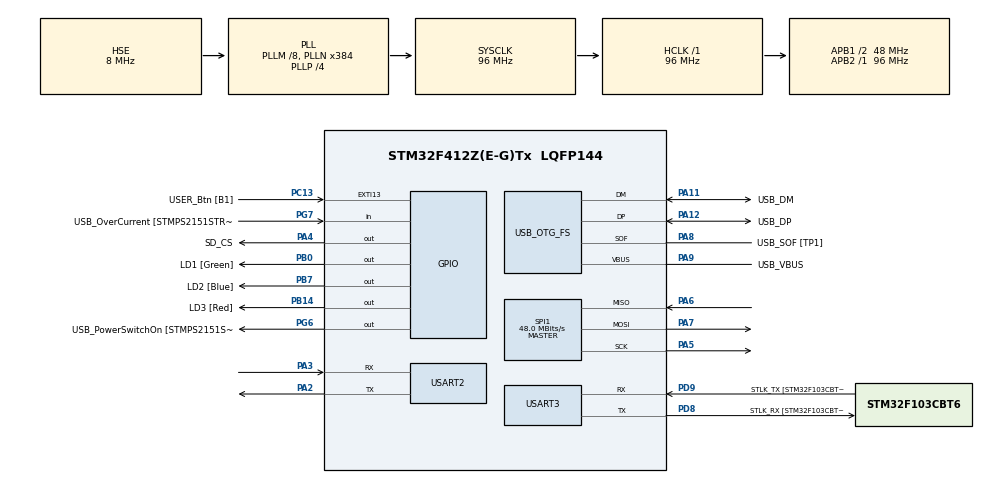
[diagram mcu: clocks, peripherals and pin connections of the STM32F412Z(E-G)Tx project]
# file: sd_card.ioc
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FATFS._MAX_SS=4096
FATFS._USE_LFN=1
Mcu.Family=STM32F4
Mcu.Name=STM32F412Z(E-G)Tx
Mcu.Package=LQFP144
NVIC.PriorityGroup=NVIC_PRIORITYGROUP_4
PA10.GPIO_Label=USB_ID
PA10.Signal=USB_OTG_FS_ID
PA11.GPIO_Label=USB_DM
PA11.Mode=Device_Only
PA11.Signal=USB_OTG_FS_DM
PA12.GPIO_Label=USB_DP
PA12.Mode=Device_Only
PA12.Signal=USB_OTG_FS_DP
PA13.GPIO_Label=TMS
PA13.Mode=Serial_Wire
PA13.Signal=SYS_JTMS-SWDIO
PA14.GPIO_Label=TCK
PA14.Mode=Serial_Wire
PA14.Signal=SYS_JTCK-SWCLK
PA2.Mode=Asynchronous
PA2.Signal=USART2_TX
PA3.Mode=Asynchronous
PA3.Signal=USART2_RX
PA4.GPIO_Label=SD_CS
PA4.Signal=GPIO_Output
PA5.Mode=Full_Duplex_Master
PA5.Signal=SPI1_SCK
PA6.Mode=Full_Duplex_Master
PA6.Signal=SPI1_MISO
PA7.Mode=Full_Duplex_Master
PA7.Signal=SPI1_MOSI
PA8.GPIO_Label=USB_SOF [TP1]
PA8.Mode=Activate_SOF_FS
PA8.Signal=USB_OTG_FS_SOF
PA9.GPIO_Label=USB_VBUS
PA9.Mode=Activate_VBUS
PA9.Signal=USB_OTG_FS_VBUS
PB0.GPIO_Label=LD1 [Green]
PB0.Signal=GPIO_Output
PB14.GPIO_Label=LD3 [Red]
PB14.Signal=GPIO_Output
PB3.GPIO_Label=SWO
PB3.Signal=SYS_JTDO-SWO
PB7.GPIO_Label=LD2 [Blue]
PB7.Signal=GPIO_Output
PC13.GPIO_Label=USER_Btn [B1]
PC13.Signal=GPXTI13
PC14-OSC32_IN.Mode=LSE-External-Oscillator
PC14-OSC32_IN.Signal=RCC_OSC32_IN
PC15-OSC32_OUT.Mode=LSE-External-Oscillator
PC15-OSC32_OUT.Signal=RCC_OSC32_OUT
PD8.GPIO_Label=STLK_RX [STM32F103CBT6_PA3]
PD8.Mode=Asynchronous
PD8.Signal=USART3_TX
PD9.GPIO_Label=STLK_TX [STM32F103CBT6_PA2]
PD9.Mode=Asynchronous
PD9.Signal=USART3_RX
PG6.GPIO_Label=USB_PowerSwitchOn [STMPS2151STR_EN]
PG6.Signal=GPIO_Output
PG7.GPIO_Label=USB_OverCurrent [STMPS2151STR_FAULT]
PG7.Signal=GPIO_Input
PH0\ -\ OSC_IN.GPIO_Label=MCO
PH0\ -\ OSC_IN.Mode=HSE-External-Clock-Source
PH0\ -\ OSC_IN.Signal=RCC_OSC_IN
PH1\ -\ OSC_OUT.Mode=HSE-External-Clock-Source
PH1\ -\ OSC_OUT.Signal=RCC_OSC_OUT
ProjectManager.HeapSize=0x200
ProjectManager.StackSize=0x400
ProjectManager.TargetToolchain=STM32CubeIDE
RCC.48MHZClocksFreq_Value=24000000
RCC.AHBFreq_Value=96000000
RCC.APB1CLKDivider=RCC_HCLK_DIV2
RCC.APB1Freq_Value=48000000
RCC.APB1TimFreq_Value=96000000
RCC.APB2Freq_Value=96000000
RCC.APB2TimFreq_Value=96000000
RCC.CortexFreq_Value=96000000
RCC.HCLKFreq_Value=96000000
RCC.HSE_VALUE=8000000
RCC.HSI_VALUE=16000000
RCC.PLLM=8
RCC.PLLMUL=RCC_PLL_MUL9
RCC.PLLN=384
RCC.PLLP=RCC_PLLP_DIV4
RCC.PLLQ=8
RCC.PRESCALERUSB=RCC_USBCLKSOURCE_PLL_DIV1_5
RCC.SYSCLKFreq_VALUE=96000000
RCC.SYSCLKSource=RCC_SYSCLKSOURCE_PLLCLK
RCC.SYSCLKSourceVirtual=RCC_SYSCLKSOURCE_PLLCLK
RCC.USBFreq_Value=48000000
RCC.VCOOutputFreq_Value=384000000
SPI1.BaudRatePrescaler=SPI_BAUDRATEPRESCALER_2
SPI1.CalculateBaudRate=48.0 MBits/s
SPI1.Direction=SPI_DIRECTION_2LINES
SPI1.Mode=SPI_MODE_MASTER
SPI1.VirtualType=VM_MASTER
USART2.VirtualMode=VM_ASYNC
USART3.VirtualMode=VM_ASYNC
USB_OTG_FS.VirtualMode=Device_Only
VP_FATFS_VS_Generic.Mode=User_defined
board=NUCLEO-F412ZG

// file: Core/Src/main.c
/* USER CODE BEGIN Header */
/**
  ******************************************************************************
  * @file           : main.c
  * @brief          : Main program body
  ******************************************************************************
  * @attention
  *
  * Copyright (c) 2025 STMicroelectronics.
  * All rights reserved.
  *
  * This software is licensed under terms that can be found in the LICENSE file
  * in the root directory of this software component.
  * If no LICENSE file comes with this software, it is provided AS-IS.
  *
  ******************************************************************************
  */
/* USER CODE END Header */
#include "main.h"
#include "fatfs.h"

/* USER CODE BEGIN Includes */
#include "time.h"
/* USER CODE END Includes */

SPI_HandleTypeDef hspi1;

UART_HandleTypeDef huart2;
UART_HandleTypeDef huart3;

PCD_HandleTypeDef hpcd_USB_OTG_FS;

void SystemClock_Config(void);
static void MX_GPIO_Init(void);
static void MX_USART3_UART_Init(void);
static void MX_USB_OTG_FS_PCD_Init(void);
static void MX_SPI1_Init(void);
static void MX_USART2_UART_Init(void);

/* USER CODE BEGIN 0 */
SPI_HandleTypeDef hspi2;
char TxBuffer[250];
static void UART_Print(char* str)
{
    HAL_UART_Transmit(&huart3, (uint8_t *) str, strlen(str), 100);
}

static FRESULT mounSDtFile(FATFS *FatFs)
{
    FRESULT FR_Status;
    FR_Status = f_mount(FatFs, "", 1);
    if (FR_Status != FR_OK)
    {
        sprintf(TxBuffer, "Error! While Mounting SD Card, Error Code: (%i)\r\n", FR_Status);
        UART_Print(TxBuffer);
        return FR_Status;
    }
    sprintf(TxBuffer, "SD Card Mounted Successfully! \r\n\n");
    UART_Print(TxBuffer);
    return FR_OK;
}

static FRESULT unmountSDFile()
{
	FRESULT FR_Status;
	FR_Status = f_mount(NULL, "", 0);
	if (FR_Status != FR_OK)
	  {
	      sprintf(TxBuffer, "Error! While Un-mounting SD Card, Error Code: (%i)\r\n", FR_Status);
	      UART_Print(TxBuffer);
	  } else{
	      sprintf(TxBuffer, "SD Card Un-mounted Successfully! \r\n");
	      UART_Print(TxBuffer);
	  }
	return FR_Status;
}

static FRESULT writeSDFILE(const char *filename)
{
    FRESULT FR_Status;
    FIL Fil;
    char RW_Buffer[200];

    FR_Status = f_open(&Fil, filename, FA_WRITE | FA_OPEN_ALWAYS);
    if(FR_Status != FR_OK)
    {
        sprintf(TxBuffer, "Error! While Opening/Creating The File '%s', Error Code: (%i)\r\n", filename, FR_Status);
        UART_Print(TxBuffer);
        return FR_Status;
    }

    FR_Status = f_lseek(&Fil, f_size(&Fil));
    if (FR_Status != FR_OK)
    {
        sprintf(TxBuffer, "Error! While Seeking to End of File '%s', Error Code: (%i)\r\n", filename, FR_Status);
        UART_Print(TxBuffer);
        f_close(&Fil);
        return FR_Status;
    }

    sprintf(TxBuffer, "File '%s' Opened Successfully! Writing Data..\r\n\n", filename);
    UART_Print(TxBuffer);

    f_puts("ROAD ARROW!\r\n", &Fil);
    f_close(&Fil);

    return FR_OK;
}

static FRESULT readSDFILE(const char *filename)
{
    FRESULT FR_Status;
    FIL Fil;
    char RW_Buffer[200];

    FR_Status = f_open(&Fil, filename, FA_READ);
    if (FR_Status != FR_OK)
    {
        sprintf(TxBuffer, "Error! While Opening File '%s' For Read.. Error Code: (%i)\r\n", filename, FR_Status);
        UART_Print(TxBuffer);
        return FR_Status;
    }

    sprintf(TxBuffer, "Reading File '%s'...\r\n", filename);
    UART_Print(TxBuffer);

    while (f_gets(RW_Buffer, sizeof(RW_Buffer), &Fil))
    {
        UART_Print(RW_Buffer);
    }

    f_close(&Fil);
    sprintf(TxBuffer, "File Closed! \r\n\n");
    UART_Print(TxBuffer);

    return FR_OK;
}

static void generate_filename(char *filename, size_t max_len)
{
    time_t now = time(NULL);
    struct tm *t = localtime(&now);

    snprintf(filename, max_len, "log_%02d_%02d_%04d_%02d_%02d.txt",
             t->tm_mday, t->tm_mon + 1, t->tm_year + 1900, t->tm_hour, t->tm_min);
}

static void SD_Card_Test(void)
{
    FATFS FatFs;
    FRESULT FR_Status;

    char filename[50];

    generate_filename(filename, sizeof(filename));

    FR_Status = mounSDtFile(&FatFs);
    if (FR_Status != FR_OK)
        return;

    for (int i = 0; i < 500; i++)
    {
        FR_Status = writeSDFILE(filename);
        if (FR_Status != FR_OK)
            return;
    }

    FR_Status = readSDFILE(filename);
    if (FR_Status != FR_OK)
        return;

    FR_Status = unmountSDFile();
    if (FR_Status != FR_OK)
        return;

}

static void writeLog()
{
	FATFS FatFs;
	FIL Fil;
	FRESULT FR_Status;
	FATFS *FS_Ptr;
	UINT RWC, WWC; // Read/Write Word Counter
	DWORD FreeClusters;
	uint32_t TotalSize, FreeSpace;
	char RW_Buffer[200];
}

/* USER CODE END 0 */

int main(void)
{

  /* MCU Configuration--------------------------------------------------------*/

  /* Reset of all peripherals, Initializes the Flash interface and the Systick. */
  HAL_Init();

  /* Configure the system clock */
  SystemClock_Config();

  /* Initialize all configured peripherals */
  MX_GPIO_Init();
  MX_USART3_UART_Init();
  MX_USB_OTG_FS_PCD_Init();
  MX_SPI1_Init();
  MX_USART2_UART_Init();
  MX_FATFS_Init();
  /* USER CODE BEGIN 2 */
  char RW_Buffer[200];
  /* USER CODE END 2 */

  /* Infinite loop */
  /* USER CODE BEGIN WHILE */
  SD_Card_Test();
  HAL_Delay(1000);
  while (1)
  {
    /* USER CODE END WHILE */

  }
}

void SystemClock_Config(void)
{
  RCC_OscInitTypeDef RCC_OscInitStruct = {0};
  RCC_ClkInitTypeDef RCC_ClkInitStruct = {0};

  /** Configure the main internal regulator output voltage
  */
  __HAL_RCC_PWR_CLK_ENABLE();
  __HAL_PWR_VOLTAGESCALING_CONFIG(PWR_REGULATOR_VOLTAGE_SCALE1);

  /** Initializes the RCC Oscillators according to the specified parameters
  * in the RCC_OscInitTypeDef structure.
  */
  RCC_OscInitStruct.OscillatorType = RCC_OSCILLATORTYPE_HSE;
  RCC_OscInitStruct.HSEState = RCC_HSE_BYPASS;
  RCC_OscInitStruct.PLL.PLLState = RCC_PLL_ON;
  RCC_OscInitStruct.PLL.PLLSource = RCC_PLLSOURCE_HSE;
  RCC_OscInitStruct.PLL.PLLM = 8;
  RCC_OscInitStruct.PLL.PLLN = 384;
  RCC_OscInitStruct.PLL.PLLP = RCC_PLLP_DIV4;
  RCC_OscInitStruct.PLL.PLLQ = 8;
  RCC_OscInitStruct.PLL.PLLR = 2;
  if (HAL_RCC_OscConfig(&RCC_OscInitStruct) != HAL_OK)
  {
    Error_Handler();
  }

  /** Initializes the CPU, AHB and APB buses clocks
  */
  RCC_ClkInitStruct.ClockType = RCC_CLOCKTYPE_HCLK|RCC_CLOCKTYPE_SYSCLK
                              |RCC_CLOCKTYPE_PCLK1|RCC_CLOCKTYPE_PCLK2;
  RCC_ClkInitStruct.SYSCLKSource = RCC_SYSCLKSOURCE_PLLCLK;
  RCC_ClkInitStruct.AHBCLKDivider = RCC_SYSCLK_DIV1;
  RCC_ClkInitStruct.APB1CLKDivider = RCC_HCLK_DIV2;
  RCC_ClkInitStruct.APB2CLKDivider = RCC_HCLK_DIV1;

  if (HAL_RCC_ClockConfig(&RCC_ClkInitStruct, FLASH_LATENCY_3) != HAL_OK)
  {
    Error_Handler();
  }
}

static void MX_SPI1_Init(void)
{

  /* SPI1 parameter configuration*/
  hspi1.Instance = SPI1;
  hspi1.Init.Mode = SPI_MODE_MASTER;
  hspi1.Init.Direction = SPI_DIRECTION_2LINES;
  hspi1.Init.DataSize = SPI_DATASIZE_8BIT;
  hspi1.Init.CLKPolarity = SPI_POLARITY_LOW;
  hspi1.Init.CLKPhase = SPI_PHASE_1EDGE;
  hspi1.Init.NSS = SPI_NSS_SOFT;
  hspi1.Init.BaudRatePrescaler = SPI_BAUDRATEPRESCALER_2;
  hspi1.Init.FirstBit = SPI_FIRSTBIT_MSB;
  hspi1.Init.TIMode = SPI_TIMODE_DISABLE;
  hspi1.Init.CRCCalculation = SPI_CRCCALCULATION_DISABLE;
  hspi1.Init.CRCPolynomial = 10;
  if (HAL_SPI_Init(&hspi1) != HAL_OK)
  {
    Error_Handler();
  }

}

static void MX_USART2_UART_Init(void)
{

  huart2.Instance = USART2;
  huart2.Init.BaudRate = 115200;
  huart2.Init.WordLength = UART_WORDLENGTH_8B;
  huart2.Init.StopBits = UART_STOPBITS_1;
  huart2.Init.Parity = UART_PARITY_NONE;
  huart2.Init.Mode = UART_MODE_TX_RX;
  huart2.Init.HwFlowCtl = UART_HWCONTROL_NONE;
  huart2.Init.OverSampling = UART_OVERSAMPLING_16;
  if (HAL_UART_Init(&huart2) != HAL_OK)
  {
    Error_Handler();
  }

}

static void MX_USART3_UART_Init(void)
{

  huart3.Instance = USART3;
  huart3.Init.BaudRate = 115200;
  huart3.Init.WordLength = UART_WORDLENGTH_8B;
  huart3.Init.StopBits = UART_STOPBITS_1;
  huart3.Init.Parity = UART_PARITY_NONE;
  huart3.Init.Mode = UART_MODE_TX_RX;
  huart3.Init.HwFlowCtl = UART_HWCONTROL_NONE;
  huart3.Init.OverSampling = UART_OVERSAMPLING_16;
  if (HAL_UART_Init(&huart3) != HAL_OK)
  {
    Error_Handler();
  }

}

static void MX_USB_OTG_FS_PCD_Init(void)
{

  hpcd_USB_OTG_FS.Instance = USB_OTG_FS;
  hpcd_USB_OTG_FS.Init.dev_endpoints = 6;
  hpcd_USB_OTG_FS.Init.speed = PCD_SPEED_FULL;
  hpcd_USB_OTG_FS.Init.dma_enable = DISABLE;
  hpcd_USB_OTG_FS.Init.phy_itface = PCD_PHY_EMBEDDED;
  hpcd_USB_OTG_FS.Init.Sof_enable = ENABLE;
  hpcd_USB_OTG_FS.Init.low_power_enable = DISABLE;
  hpcd_USB_OTG_FS.Init.lpm_enable = DISABLE;
  hpcd_USB_OTG_FS.Init.battery_charging_enable = ENABLE;
  hpcd_USB_OTG_FS.Init.vbus_sensing_enable = ENABLE;
  hpcd_USB_OTG_FS.Init.use_dedicated_ep1 = DISABLE;
  if (HAL_PCD_Init(&hpcd_USB_OTG_FS) != HAL_OK)
  {
    Error_Handler();
  }

}

static void MX_GPIO_Init(void)
{
  GPIO_InitTypeDef GPIO_InitStruct = {0};

  /* GPIO Ports Clock Enable */
  __HAL_RCC_GPIOC_CLK_ENABLE();
  __HAL_RCC_GPIOH_CLK_ENABLE();
  __HAL_RCC_GPIOA_CLK_ENABLE();
  __HAL_RCC_GPIOB_CLK_ENABLE();
  __HAL_RCC_GPIOD_CLK_ENABLE();
  __HAL_RCC_GPIOG_CLK_ENABLE();

  /*Configure GPIO pin Output Level */
  HAL_GPIO_WritePin(SD_CS_GPIO_Port, SD_CS_Pin, GPIO_PIN_RESET);

  /*Configure GPIO pin Output Level */
  HAL_GPIO_WritePin(GPIOB, LD1_Pin|LD3_Pin|LD2_Pin, GPIO_PIN_RESET);

  /*Configure GPIO pin Output Level */
  HAL_GPIO_WritePin(USB_PowerSwitchOn_GPIO_Port, USB_PowerSwitchOn_Pin, GPIO_PIN_RESET);

  /*Configure GPIO pin : USER_Btn_Pin */
  GPIO_InitStruct.Pin = USER_Btn_Pin;
  GPIO_InitStruct.Mode = GPIO_MODE_IT_RISING;
  GPIO_InitStruct.Pull = GPIO_NOPULL;
  HAL_GPIO_Init(USER_Btn_GPIO_Port, &GPIO_InitStruct);

  /*Configure GPIO pin : SD_CS_Pin */
  GPIO_InitStruct.Pin = SD_CS_Pin;
  GPIO_InitStruct.Mode = GPIO_MODE_OUTPUT_PP;
  GPIO_InitStruct.Pull = GPIO_NOPULL;
  GPIO_InitStruct.Speed = GPIO_SPEED_FREQ_LOW;
  HAL_GPIO_Init(SD_CS_GPIO_Port, &GPIO_InitStruct);

  /*Configure GPIO pins : LD1_Pin LD3_Pin LD2_Pin */
  GPIO_InitStruct.Pin = LD1_Pin|LD3_Pin|LD2_Pin;
  GPIO_InitStruct.Mode = GPIO_MODE_OUTPUT_PP;
  GPIO_InitStruct.Pull = GPIO_NOPULL;
  GPIO_InitStruct.Speed = GPIO_SPEED_FREQ_LOW;
  HAL_GPIO_Init(GPIOB, &GPIO_InitStruct);

  /*Configure GPIO pin : USB_PowerSwitchOn_Pin */
  GPIO_InitStruct.Pin = USB_PowerSwitchOn_Pin;
  GPIO_InitStruct.Mode = GPIO_MODE_OUTPUT_PP;
  GPIO_InitStruct.Pull = GPIO_NOPULL;
  GPIO_InitStruct.Speed = GPIO_SPEED_FREQ_LOW;
  HAL_GPIO_Init(USB_PowerSwitchOn_GPIO_Port, &GPIO_InitStruct);

  /*Configure GPIO pin : USB_OverCurrent_Pin */
  GPIO_InitStruct.Pin = USB_OverCurrent_Pin;
  GPIO_InitStruct.Mode = GPIO_MODE_INPUT;
  GPIO_InitStruct.Pull = GPIO_NOPULL;
  HAL_GPIO_Init(USB_OverCurrent_GPIO_Port, &GPIO_InitStruct);

}

void Error_Handler(void)
{
  __disable_irq();
  while (1)
  {
  }
}
